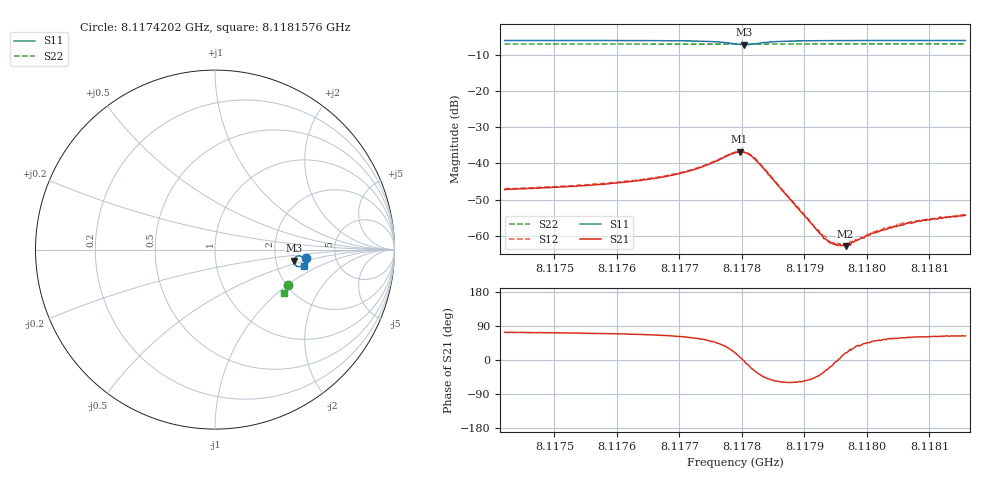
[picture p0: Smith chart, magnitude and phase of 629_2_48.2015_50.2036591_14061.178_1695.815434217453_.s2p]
#  HZ  S  RI  R  50.00
! Rohde & Schwarz Vector Network Analyzer
! Rohde-Schwarz,ZNB20-2Port,1311601062101988,3.16
! Created: UTC 3/20/2024, 12:04:14 PM
! freq[Hz]  re:S11  im:S11  re:S21  im:S21  re:S12  im:S12  re:S22  im:S22
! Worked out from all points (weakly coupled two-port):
!   401 points, 8.1174202 GHz to 8.1181576 GHz, reference 50 ohm
!   highest |S21| = -36.76 dB at 8.1177962 GHz (marker M1); lowest = -62.8 dB at 8.1179658 GHz (marker M2)
!   lowest |S11| = -7.1 dB at 8.1178036 GHz (marker M3), VSWR 2.59, Z = 126 - j19.6 ohm
!   |S11| at or under -10 dB: nowhere
!   |S22| runs from -6.9 to -6.8 dB; largest |S21 - S12| = 0.00052
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8.11742018e9  0.5047 -0.0477  0.00126 0.00415  0.00135 0.00428  0.4077 -0.1961
8.1175437e9  0.5027 -0.0594  0.00161 0.00462  0.00169 0.00471  0.4043 -0.2041
8.11761559e9  0.5008 -0.0675  0.00202 0.00515  0.00212 0.00527  0.402 -0.2088
8.11766721e9  0.498 -0.0747  0.00264 0.00579  0.00275 0.00592  0.4003 -0.2122
8.1177262e9  0.4898 -0.0862  0.00448 0.00705  0.0046 0.00721  0.3981 -0.2162
8.11778888e9  0.4468 -0.086  0.0133 0.00464  0.0135 0.00478  0.3944 -0.2194
8.11779625e9  0.4402 -0.0758  0.0144 0.00205  0.0146 0.00223  0.394 -0.2192
8.11780362e9  0.4383 -0.0626  0.0143 -0.000715  0.0145 -0.000776  0.3937 -0.2189
8.117811e9  0.4424 -0.0496  0.0129 -0.00342  0.0132 -0.00348  0.3938 -0.219
8.1178239e9  0.4586 -0.0366  0.00894 -0.00584  0.00929 -0.00616  0.3946 -0.2193
8.11785708e9  0.4881 -0.0424  0.00277 -0.00418  0.00286 -0.0043  0.3946 -0.2219
8.11791239e9  0.4986 -0.0596  0.000922 -0.00109  0.00093 -0.00113  0.393 -0.226
8.11792898e9  0.4994 -0.063  0.000808 -0.000565  0.000835 -0.000564  0.3926 -0.2274
8.11794004e9  0.4997 -0.0652  0.000784 -0.000277  0.000741 -0.000284  0.3923 -0.2279
8.1179511e9  0.4999 -0.0671  0.000733 -4.41e-05  0.000715 -8.5e-05  0.392 -0.2288
8.11796216e9  0.4999 -0.0688  0.00071 0.000162  0.000739 0.000129  0.3916 -0.2295
8.11796585e9  0.5 -0.0694  0.000683 0.000231  0.000708 0.000264  0.3915 -0.2297
8.11801378e9  0.4999 -0.0758  0.000704 0.000861  0.000702 0.000876  0.3898 -0.2327
8.1180359e9  0.4998 -0.0784  0.000699 0.00106  0.000707 0.00109  0.389 -0.2341
8.11806539e9  0.4995 -0.0814  0.000762 0.00127  0.000766 0.0013  0.3882 -0.2359
8.11809857e9  0.4991 -0.0849  0.000789 0.00146  0.000804 0.00152  0.387 -0.2381
8.11815756e9  0.4982 -0.0904  0.000851 0.00172  0.000882 0.00173  0.3849 -0.2417
